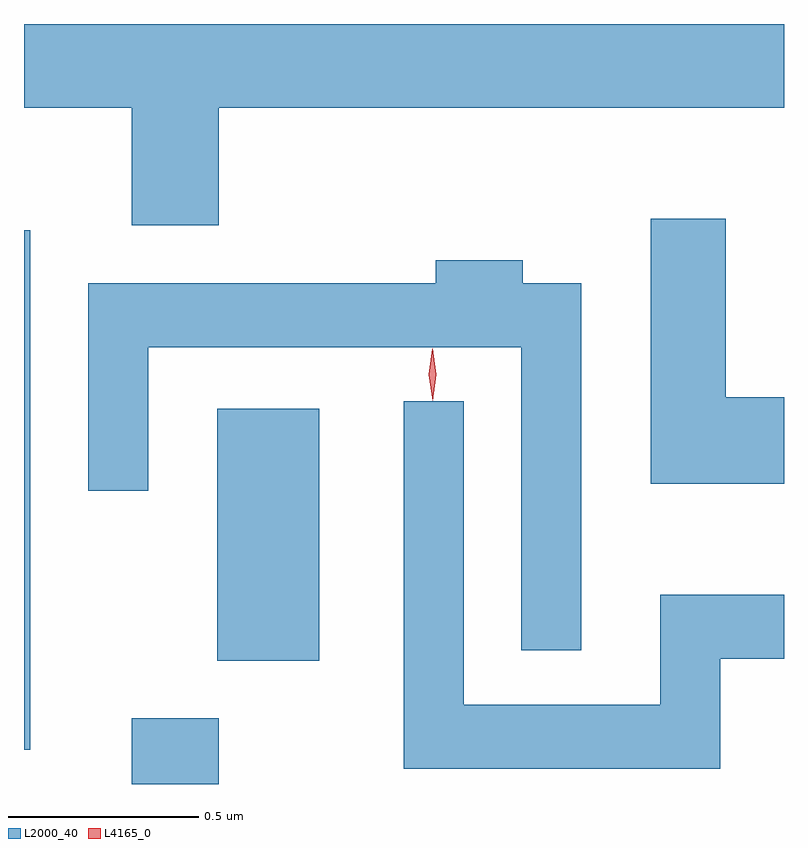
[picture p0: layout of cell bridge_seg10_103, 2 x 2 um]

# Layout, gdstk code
import gdstk
lib = gdstk.Library(unit=1e-6, precision=1e-09)
def R(c, l, rs):  # rectangles x0, y0, x1, y1
    for r in rs: c.add(gdstk.rectangle(r[:2], r[2:], *l))
def P(c, l, *ps):  # polygons
    for p in ps: c.add(gdstk.Polygon(p, *l))
L2000_40 = (2000, 40)
L4165_0 = (4165, 0)

bridge_seg10_103 = lib.new_cell('bridge_seg10_103')
R(bridge_seg10_103, L2000_40, [(1587.001,2216.476,1587.229,2216.649), (1586.717,2216.566,1586.734,2217.933), (1587.226,2216.801,1587.494,2217.464)])
P(bridge_seg10_103, L2000_40, [(1587.229,2218.256),(1588.717,2218.256),(1588.717,2218.476),(1586.717,2218.476),(1586.717,2218.256),(1587.001,2218.256),(1587.001,2217.946),(1587.229,2217.946)],
  [(1588.717,2217.494),(1588.564,2217.494),(1588.564,2217.964),(1588.366,2217.964),(1588.366,2217.266),(1588.717,2217.266)],
  [(1588.184,2217.794),(1588.029,2217.794),(1588.029,2217.854),(1587.801,2217.854),(1587.801,2217.794),(1586.886,2217.794),(1586.886,2217.248),(1587.044,2217.248),(1587.044,2217.626),(1588.026,2217.626),(1588.026,2216.828),(1588.184,2216.828)],
  [(1588.549,2216.806),(1588.717,2216.806),(1588.717,2216.974),(1588.391,2216.974),(1588.391,2216.684),(1587.874,2216.684),(1587.874,2217.483),(1587.716,2217.483),(1587.716,2216.516),(1588.549,2216.516)])
P(bridge_seg10_103, L4165_0, [(1587.792,2217.484),(1587.792,2217.484),(1587.782,2217.553),(1587.792,2217.622),(1587.792,2217.623),(1587.793,2217.622),(1587.802,2217.553),(1587.793,2217.484)],
  [(1587.792,2217.487),(1587.792,2217.488),(1587.782,2217.554),(1587.791,2217.62),(1587.792,2217.62),(1587.792,2217.62),(1587.802,2217.554),(1587.793,2217.488)])

lib.write_gds('bridge_seg10_103.gds')
